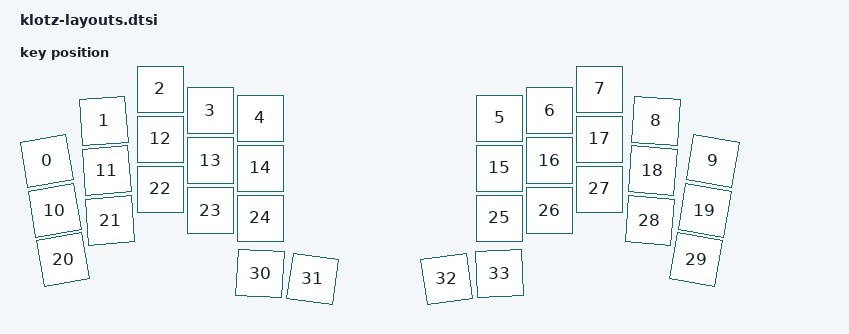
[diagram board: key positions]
#include <physical_layouts.dtsi>

/ {
    physical_layout0: physical_layout_0 {
        compatible = "zmk,physical-layout";
        display-name = "Default";
        kscan = <&kscan0>;
        transform = <&default_transform>;

        keys  //                     w   h    x    y     rot    rx    ry
          = <&key_physical_attrs 100 100    0  144 (-1000)    50   194>
          , <&key_physical_attrs 100 100  114   64  (-400)   164   114>
          , <&key_physical_attrs 100 100  227    0       0     0     0>
          , <&key_physical_attrs 100 100  327   43       0     0     0>
          , <&key_physical_attrs 100 100  427   58       0     0     0>
          , <&key_physical_attrs 100 100  906   58       0     0     0>
          , <&key_physical_attrs 100 100 1006   43       0     0     0>
          , <&key_physical_attrs 100 100 1106    0       0     0     0>
          , <&key_physical_attrs 100 100 1219   64     400  1269   114>
          , <&key_physical_attrs 100 100 1332  144    1000  1382   194>
          , <&key_physical_attrs 100 100   16  243 (-1000)    66   293>
          , <&key_physical_attrs 100 100  120  163  (-400)   170   213>
          , <&key_physical_attrs 100 100  227  100       0     0     0>
          , <&key_physical_attrs 100 100  327  143       0     0     0>
          , <&key_physical_attrs 100 100  427  158       0     0     0>
          , <&key_physical_attrs 100 100  906  158       0     0     0>
          , <&key_physical_attrs 100 100 1006  143       0     0     0>
          , <&key_physical_attrs 100 100 1106  100       0     0     0>
          , <&key_physical_attrs 100 100 1212  163     400  1262   213>
          , <&key_physical_attrs 100 100 1316  243    1000  1366   293>
          , <&key_physical_attrs 100 100   33  341 (-1000)    83   391>
          , <&key_physical_attrs 100 100  127  263  (-400)   177   313>
          , <&key_physical_attrs 100 100  227  200       0     0     0>
          , <&key_physical_attrs 100 100  327  243       0     0     0>
          , <&key_physical_attrs 100 100  427  258       0     0     0>
          , <&key_physical_attrs 100 100  906  258       0     0     0>
          , <&key_physical_attrs 100 100 1006  243       0     0     0>
          , <&key_physical_attrs 100 100 1106  200       0     0     0>
          , <&key_physical_attrs 100 100 1206  263     400  1256   313>
          , <&key_physical_attrs 100 100 1299  341    1000  1349   391>
          , <&key_physical_attrs 100 100  427  369     300   477   419>
          , <&key_physical_attrs 100 100  532  380     800   582   430>
          , <&key_physical_attrs 100 100  800  380  (-800)   850   430>
          , <&key_physical_attrs 100 100  906  369  (-300)   956   419>
          ;
    };
    
    position_map {
        compatible = "zmk,physical-layout-position-map";

        complete;

        layout {
            physical-layout = <&physical_layout0>;
            positions = <>;
        };
    };
};
